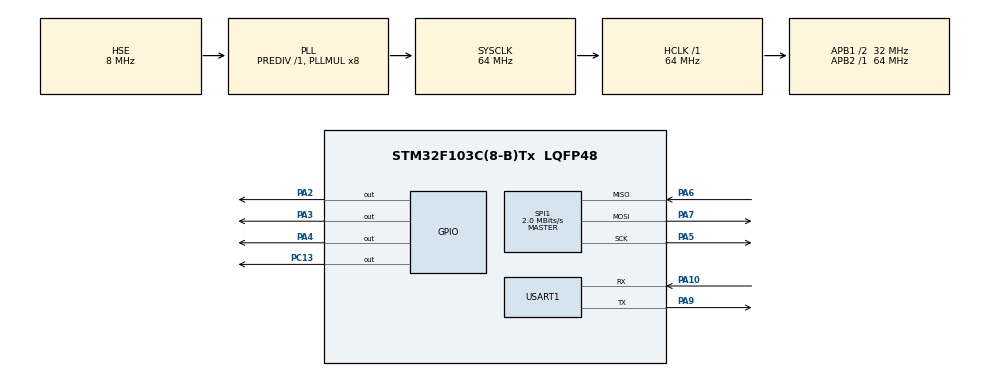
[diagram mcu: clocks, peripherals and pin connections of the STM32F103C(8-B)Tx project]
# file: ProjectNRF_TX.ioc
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Mcu.Family=STM32F1
Mcu.Name=STM32F103C(8-B)Tx
Mcu.Package=LQFP48
NVIC.PriorityGroup=NVIC_PRIORITYGROUP_4
NVIC.SPI1_IRQn=true\:0\:0\:false\:false\:true\:true
NVIC.USART1_IRQn=true\:0\:0\:false\:false\:true\:true
PA10.Mode=Asynchronous
PA10.Signal=USART1_RX
PA13.Mode=Serial_Wire
PA13.Signal=SYS_JTMS-SWDIO
PA14.Mode=Serial_Wire
PA14.Signal=SYS_JTCK-SWCLK
PA2.Signal=GPIO_Output
PA3.Signal=GPIO_Output
PA4.Signal=GPIO_Output
PA5.Mode=Full_Duplex_Master
PA5.Signal=SPI1_SCK
PA6.Mode=Full_Duplex_Master
PA6.Signal=SPI1_MISO
PA7.Mode=Full_Duplex_Master
PA7.Signal=SPI1_MOSI
PA9.Mode=Asynchronous
PA9.Signal=USART1_TX
PC13-TAMPER-RTC.Signal=GPIO_Output
PD0-OSC_IN.Mode=HSE-External-Oscillator
PD0-OSC_IN.Signal=RCC_OSC_IN
PD1-OSC_OUT.Mode=HSE-External-Oscillator
PD1-OSC_OUT.Signal=RCC_OSC_OUT
ProjectManager.HeapSize=0x200
ProjectManager.StackSize=0x400
ProjectManager.TargetToolchain=MDK-ARM V5
RCC.AHBFreq_Value=64000000
RCC.APB1CLKDivider=RCC_HCLK_DIV2
RCC.APB1Freq_Value=32000000
RCC.APB1TimFreq_Value=64000000
RCC.APB2Freq_Value=64000000
RCC.APB2TimFreq_Value=64000000
RCC.HCLKFreq_Value=64000000
RCC.PLLMUL=RCC_PLL_MUL8
RCC.PLLSourceVirtual=RCC_PLLSOURCE_HSE
RCC.SYSCLKFreq_VALUE=64000000
RCC.SYSCLKSource=RCC_SYSCLKSOURCE_PLLCLK
RCC.USBFreq_Value=64000000
SPI1.BaudRatePrescaler=SPI_BAUDRATEPRESCALER_32
SPI1.CalculateBaudRate=2.0 MBits/s
SPI1.Direction=SPI_DIRECTION_2LINES
SPI1.Mode=SPI_MODE_MASTER
SPI1.VirtualType=VM_MASTER
USART1.VirtualMode=VM_ASYNC
board=custom

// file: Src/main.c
/**
  ******************************************************************************
  * File Name          : main.c
  * Description        : Main program body
  ******************************************************************************
  ** This notice applies to any and all portions of this file
  * that are not between comment pairs USER CODE BEGIN and
  * USER CODE END. Other portions of this file, whether
  * inserted by the user or by software development tools
  * are owned by their respective copyright owners.
  *
  * COPYRIGHT(c) 2018 STMicroelectronics
  *
  * Redistribution and use in source and binary forms, with or without modification,
  * are permitted provided that the following conditions are met:
  *   1. Redistributions of source code must retain the above copyright notice,
  *      this list of conditions and the following disclaimer.
  *   2. Redistributions in binary form must reproduce the above copyright notice,
  *      this list of conditions and the following disclaimer in the documentation
  *      and/or other materials provided with the distribution.
  *   3. Neither the name of STMicroelectronics nor the names of its contributors
  *      may be used to endorse or promote products derived from this software
  *      without specific prior written permission.
  *
  * THIS SOFTWARE IS PROVIDED BY THE COPYRIGHT HOLDERS AND CONTRIBUTORS "AS IS"
  * AND ANY EXPRESS OR IMPLIED WARRANTIES, INCLUDING, BUT NOT LIMITED TO, THE
  * IMPLIED WARRANTIES OF MERCHANTABILITY AND FITNESS FOR A PARTICULAR PURPOSE ARE
  * DISCLAIMED. IN NO EVENT SHALL THE COPYRIGHT HOLDER OR CONTRIBUTORS BE LIABLE
  * FOR ANY DIRECT, INDIRECT, INCIDENTAL, SPECIAL, EXEMPLARY, OR CONSEQUENTIAL
  * DAMAGES (INCLUDING, BUT NOT LIMITED TO, PROCUREMENT OF SUBSTITUTE GOODS OR
  * SERVICES; LOSS OF USE, DATA, OR PROFITS; OR BUSINESS INTERRUPTION) HOWEVER
  * CAUSED AND ON ANY THEORY OF LIABILITY, WHETHER IN CONTRACT, STRICT LIABILITY,
  * OR TORT (INCLUDING NEGLIGENCE OR OTHERWISE) ARISING IN ANY WAY OUT OF THE USE
  * OF THIS SOFTWARE, EVEN IF ADVISED OF THE POSSIBILITY OF SUCH DAMAGE.
  *
  ******************************************************************************
  */
#include "main.h"
#include "stm32f1xx_hal.h"

/* USER CODE BEGIN Includes */
#include "NRF24.h"
#include <string.h>
/* USER CODE END Includes */

SPI_HandleTypeDef hspi1;

UART_HandleTypeDef huart1;

/* USER CODE BEGIN PV */
/* Private variables ---------------------------------------------------------*/
char str1[20]={0};
uint8_t buf1[20]={0};
/* USER CODE END PV */

void SystemClock_Config(void);
static void MX_GPIO_Init(void);
static void MX_SPI1_Init(void);
static void MX_USART1_UART_Init(void);

/* USER CODE BEGIN PFP */
/* Private function prototypes -----------------------------------------------*/

/* USER CODE END PFP */

int main(void)
{

  /* USER CODE BEGIN 1 */
	uint8_t dt_reg=0;
	uint8_t retr_cnt, dt;
	uint16_t i=1,retr_cnt_full;
  /* USER CODE END 1 */

  /* MCU Configuration----------------------------------------------------------*/

  /* Reset of all peripherals, Initializes the Flash interface and the Systick. */
  HAL_Init();

  /* Configure the system clock */
  SystemClock_Config();

  /* Initialize all configured peripherals */
  MX_GPIO_Init();
  MX_SPI1_Init();
  MX_USART1_UART_Init();

  /* USER CODE BEGIN 2 */
	NRF24_ini();
  /* USER CODE END 2 */

  /* Infinite loop */
  while (1)
  {

  /* USER CODE BEGIN 3 */
//		HAL_Delay(1000);
//		memcpy(buf1,(uint8_t*)&i,2);
//		if(retr_cnt_full>999) retr_cnt_full=999;
//		memcpy(buf1+2,(uint8_t*)&retr_cnt_full,2);
//		dt = NRF24L01_Send(buf1);
//		retr_cnt = dt & 0xF;
//		i++;
//		retr_cnt_full += retr_cnt;
//		if(i>=999) i=1;

		dt_reg = NRF24_ReadReg(CONFIG);
		sprintf(str1,"CONFIG: 0x%02X\r\n",dt_reg);
		HAL_UART_Transmit(&huart1,(uint8_t*)str1,strlen(str1),0x1000);
		dt_reg = NRF24_ReadReg(EN_AA);
		sprintf(str1,"EN_AA: 0x%02X\r\n",dt_reg);
		HAL_UART_Transmit(&huart1,(uint8_t*)str1,strlen(str1),0x1000);
		dt_reg = NRF24_ReadReg(EN_RXADDR);
		sprintf(str1,"EN_RXADDR: 0x%02X\r\n",dt_reg);
		HAL_UART_Transmit(&huart1,(uint8_t*)str1,strlen(str1),0x1000);
		dt_reg = NRF24_ReadReg(STATUS);
		sprintf(str1,"STATUS: 0x%02X\r\n",dt_reg);
		HAL_UART_Transmit(&huart1,(uint8_t*)str1,strlen(str1),0x1000);
		dt_reg = NRF24_ReadReg(RF_SETUP);
		sprintf(str1,"RF_SETUP: 0x%02X\r\n",dt_reg);
		HAL_UART_Transmit(&huart1,(uint8_t*)str1,strlen(str1),0x1000);
		NRF24_Read_Buf(TX_ADDR,buf1,3);
		sprintf(str1,"TX_ADDR: 0x%02X, 0x%02X, 0x%02X\r\n",buf1[0],buf1[1],buf1[2]);
		HAL_UART_Transmit(&huart1,(uint8_t*)str1,strlen(str1),0x1000);
		NRF24_Read_Buf(RX_ADDR_P0,buf1,3);
		sprintf(str1,"RX_ADDR: 0x%02X, 0x%02X, 0x%02X\r\n",buf1[0],buf1[1],buf1[2]);
		HAL_UART_Transmit(&huart1,(uint8_t*)str1,strlen(str1),0x1000);

  }
  /* USER CODE END 3 */

}

/** System Clock Configuration
*/
void SystemClock_Config(void)
{

  RCC_OscInitTypeDef RCC_OscInitStruct;
  RCC_ClkInitTypeDef RCC_ClkInitStruct;

    /**Initializes the CPU, AHB and APB busses clocks
    */
  RCC_OscInitStruct.OscillatorType = RCC_OSCILLATORTYPE_HSE;
  RCC_OscInitStruct.HSEState = RCC_HSE_ON;
  RCC_OscInitStruct.HSEPredivValue = RCC_HSE_PREDIV_DIV1;
  RCC_OscInitStruct.HSIState = RCC_HSI_ON;
  RCC_OscInitStruct.PLL.PLLState = RCC_PLL_ON;
  RCC_OscInitStruct.PLL.PLLSource = RCC_PLLSOURCE_HSE;
  RCC_OscInitStruct.PLL.PLLMUL = RCC_PLL_MUL8;
  if (HAL_RCC_OscConfig(&RCC_OscInitStruct) != HAL_OK)
  {
    _Error_Handler(__FILE__, __LINE__);
  }

    /**Initializes the CPU, AHB and APB busses clocks
    */
  RCC_ClkInitStruct.ClockType = RCC_CLOCKTYPE_HCLK|RCC_CLOCKTYPE_SYSCLK
                              |RCC_CLOCKTYPE_PCLK1|RCC_CLOCKTYPE_PCLK2;
  RCC_ClkInitStruct.SYSCLKSource = RCC_SYSCLKSOURCE_PLLCLK;
  RCC_ClkInitStruct.AHBCLKDivider = RCC_SYSCLK_DIV1;
  RCC_ClkInitStruct.APB1CLKDivider = RCC_HCLK_DIV2;
  RCC_ClkInitStruct.APB2CLKDivider = RCC_HCLK_DIV1;

  if (HAL_RCC_ClockConfig(&RCC_ClkInitStruct, FLASH_LATENCY_2) != HAL_OK)
  {
    _Error_Handler(__FILE__, __LINE__);
  }

    /**Configure the Systick interrupt time
    */
  HAL_SYSTICK_Config(HAL_RCC_GetHCLKFreq()/1000);

    /**Configure the Systick
    */
  HAL_SYSTICK_CLKSourceConfig(SYSTICK_CLKSOURCE_HCLK);

  /* SysTick_IRQn interrupt configuration */
  HAL_NVIC_SetPriority(SysTick_IRQn, 0, 0);
}

/* SPI1 init function */
static void MX_SPI1_Init(void)
{

  /* SPI1 parameter configuration*/
  hspi1.Instance = SPI1;
  hspi1.Init.Mode = SPI_MODE_MASTER;
  hspi1.Init.Direction = SPI_DIRECTION_2LINES;
  hspi1.Init.DataSize = SPI_DATASIZE_8BIT;
  hspi1.Init.CLKPolarity = SPI_POLARITY_LOW;
  hspi1.Init.CLKPhase = SPI_PHASE_1EDGE;
  hspi1.Init.NSS = SPI_NSS_SOFT;
  hspi1.Init.BaudRatePrescaler = SPI_BAUDRATEPRESCALER_32;
  hspi1.Init.FirstBit = SPI_FIRSTBIT_MSB;
  hspi1.Init.TIMode = SPI_TIMODE_DISABLE;
  hspi1.Init.CRCCalculation = SPI_CRCCALCULATION_DISABLE;
  hspi1.Init.CRCPolynomial = 10;
  if (HAL_SPI_Init(&hspi1) != HAL_OK)
  {
    _Error_Handler(__FILE__, __LINE__);
  }

}

/* USART1 init function */
static void MX_USART1_UART_Init(void)
{

  huart1.Instance = USART1;
  huart1.Init.BaudRate = 115200;
  huart1.Init.WordLength = UART_WORDLENGTH_8B;
  huart1.Init.StopBits = UART_STOPBITS_1;
  huart1.Init.Parity = UART_PARITY_NONE;
  huart1.Init.Mode = UART_MODE_TX_RX;
  huart1.Init.HwFlowCtl = UART_HWCONTROL_NONE;
  huart1.Init.OverSampling = UART_OVERSAMPLING_16;
  if (HAL_UART_Init(&huart1) != HAL_OK)
  {
    _Error_Handler(__FILE__, __LINE__);
  }

}

/** Configure pins as
        * Analog
        * Input
        * Output
        * EVENT_OUT
        * EXTI
*/
static void MX_GPIO_Init(void)
{

  GPIO_InitTypeDef GPIO_InitStruct;

  /* GPIO Ports Clock Enable */
  __HAL_RCC_GPIOC_CLK_ENABLE();
  __HAL_RCC_GPIOD_CLK_ENABLE();
  __HAL_RCC_GPIOA_CLK_ENABLE();

  /*Configure GPIO pin Output Level */
  HAL_GPIO_WritePin(GPIOC, GPIO_PIN_13, GPIO_PIN_RESET);

  /*Configure GPIO pin Output Level */
  HAL_GPIO_WritePin(GPIOA, GPIO_PIN_3|GPIO_PIN_4, GPIO_PIN_RESET);

  /*Configure GPIO pin : PC13 */
  GPIO_InitStruct.Pin = GPIO_PIN_13;
  GPIO_InitStruct.Mode = GPIO_MODE_OUTPUT_PP;
  GPIO_InitStruct.Speed = GPIO_SPEED_FREQ_LOW;
  HAL_GPIO_Init(GPIOC, &GPIO_InitStruct);

  /*Configure GPIO pin : PA2 */
  GPIO_InitStruct.Pin = GPIO_PIN_2;
  GPIO_InitStruct.Mode = GPIO_MODE_INPUT;
  GPIO_InitStruct.Pull = GPIO_NOPULL;
  HAL_GPIO_Init(GPIOA, &GPIO_InitStruct);

  /*Configure GPIO pins : PA3 PA4 */
  GPIO_InitStruct.Pin = GPIO_PIN_3|GPIO_PIN_4;
  GPIO_InitStruct.Mode = GPIO_MODE_OUTPUT_PP;
  GPIO_InitStruct.Speed = GPIO_SPEED_FREQ_LOW;
  HAL_GPIO_Init(GPIOA, &GPIO_InitStruct);

}

void _Error_Handler(char * file, int line)
{
  while(1)
  {
  }
}

/************************ (C) COPYRIGHT STMicroelectronics *****END OF FILE****/
